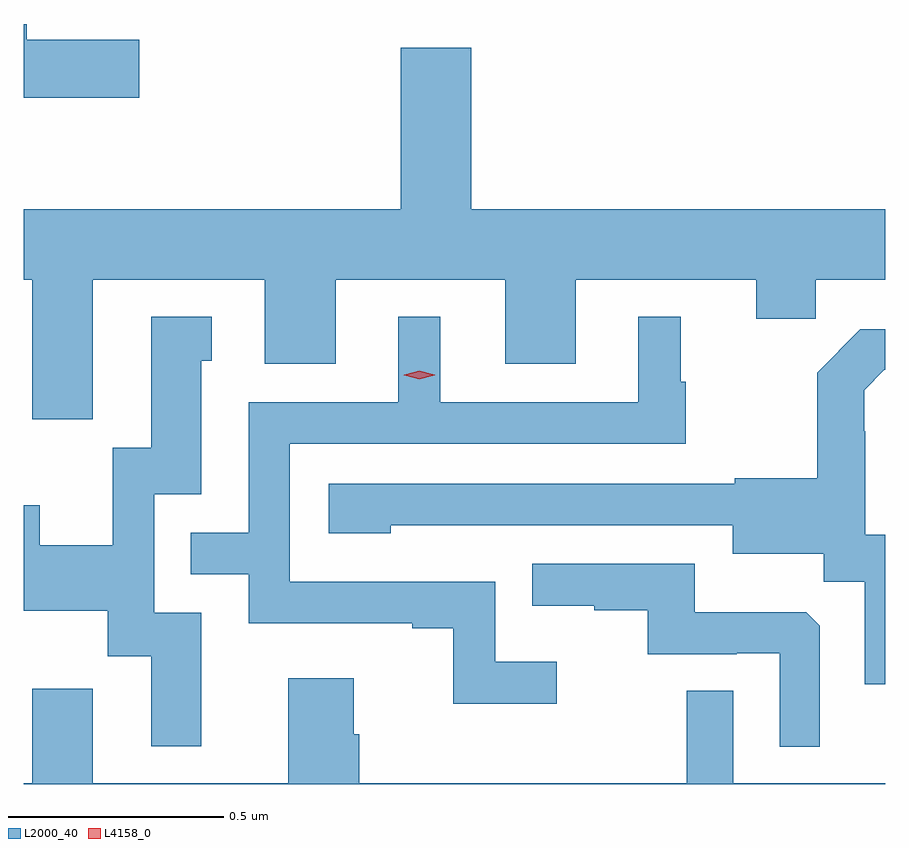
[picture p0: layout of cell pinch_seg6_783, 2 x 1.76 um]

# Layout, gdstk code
import gdstk
lib = gdstk.Library(unit=1e-6, precision=1e-09)
def P(c, l, *ps):  # polygons
    for p in ps: c.add(gdstk.Polygon(p, *l))
L2000_40 = (2000, 40)
L4158_0 = (4158, 0)

pinch_seg6_783 = lib.new_cell('pinch_seg6_783')
P(pinch_seg6_783, L2000_40, [(548.017,917.258),(547.756,917.258),(547.756,917.294),(547.749,917.294),(547.749,917.123),(548.017,917.123)],
  [(547.909,916.7),(548.309,916.7),(548.309,916.506),(548.473,916.506),(548.473,916.7),(548.867,916.7),(548.867,916.506),(549.031,916.506),(549.031,916.7),(549.449,916.7),(549.449,916.61),(549.587,916.61),(549.587,916.7),(549.749,916.7),(549.749,916.864),(548.788,916.864),(548.788,917.239),(548.624,917.239),(548.624,916.864),(547.749,916.864),(547.749,916.7),(547.769,916.7),(547.769,916.377),(547.909,916.377)],
  [(548.986,915.814),(548.844,915.814),(548.844,915.999),(548.367,915.999),(548.367,916.32),(549.286,916.32),(549.286,916.464),(549.274,916.464),(549.274,916.615),(549.176,916.615),(549.176,916.416),(548.716,916.416),(548.716,916.615),(548.618,916.615),(548.618,916.416),(548.271,916.416),(548.271,916.113),(548.137,916.113),(548.137,916.017),(548.271,916.017),(548.271,915.903),(548.651,915.903),(548.651,915.891),(548.746,915.891),(548.746,915.716),(548.986,915.716)],
  [(548.161,915.927),(548.052,915.927),(548.052,916.203),(548.161,916.203),(548.161,916.512),(548.185,916.512),(548.185,916.615),(548.045,916.615),(548.045,916.311),(547.956,916.311),(547.956,916.084),(547.786,916.084),(547.786,916.177),(547.749,916.177),(547.749,915.932),(547.944,915.932),(547.944,915.826),(548.045,915.826),(548.045,915.618),(548.161,915.618)],
  [(549.749,916.108),(549.702,916.108),(549.702,916.349),(549.7,916.349),(549.7,916.444),(549.747,916.491),(549.749,916.491),(549.749,916.585),(549.691,916.585),(549.591,916.485),(549.591,916.24),(549.399,916.24),(549.399,916.227),(548.457,916.227),(548.457,916.112),(548.601,916.112),(548.601,916.13),(548.837,916.13),(548.837,916.131),(549.395,916.131),(549.395,916.064),(549.606,916.064),(549.606,916),(549.701,916),(549.701,915.762),(549.749,915.762)],
  [(549.597,915.897),(549.565,915.929),(549.307,915.929),(549.307,916.041),(548.929,916.041),(548.929,915.944),(549.073,915.944),(549.073,915.933),(549.197,915.933),(549.197,915.831),(549.404,915.831),(549.404,915.834),(549.504,915.834),(549.504,915.617),(549.597,915.617)],
  [(549.749,915.532),(549.396,915.532),(549.396,915.746),(549.288,915.746),(549.288,915.532),(548.528,915.532),(548.528,915.645),(548.515,915.645),(548.515,915.775),(548.363,915.775),(548.363,915.532),(547.909,915.532),(547.909,915.751),(547.769,915.751),(547.769,915.532),(547.749,915.532),(547.749,915.53),(549.749,915.53)])
P(pinch_seg6_783, L4158_0, [(548.667,916.469),(548.632,916.479),(548.631,916.479),(548.632,916.48),(548.667,916.489),(548.703,916.48),(548.703,916.479),(548.703,916.479)])

lib.write_gds('pinch_seg6_783.gds')
